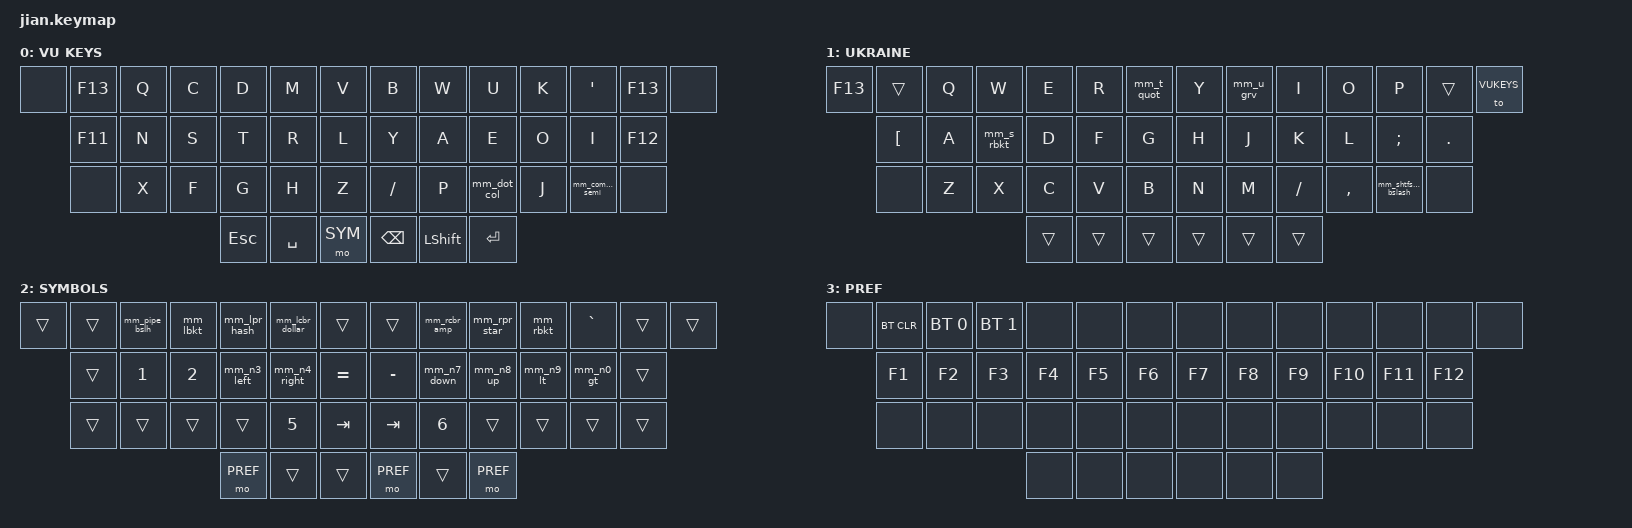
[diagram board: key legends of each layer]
#include <behaviors.dtsi>
#include <dt-bindings/zmk/keys.h>
#include <dt-bindings/zmk/bt.h>
#include <dt-bindings/zmk/outputs.h>

#define TIMEOUT 120

#define VUKEYS 0
#define UA     1
#define SYM    2
#define PREF   3

#define BTCLR &bt BT_CLR
#define BT0 &bt BT_SEL 0
#define BT1 &bt BT_SEL 1
#define BT2 &bt BT_SEL 2

// Custom debounce-period to mitigate unwanted duplicate keypresses
&kscan0 {
   debounce-press-ms = <12>;  //default 6ms
   debounce-release-ms = <12>;  //default 6ms
};

/ {
  behaviors {
    #include "modmorph.dtsi"
    #include "modtap.dtsi"
  };
  combos {
    #include "combos.dtsi"
  };
  macros {
    #include "macros.dtsi"
  };
  keymap {
       compatible = "zmk,keymap";
              VUKEYS {
              label = " VU KEYS";
              bindings = <
// ╭───────────┬───────────┬───────────┬───────────┬───────────┬───────────┬───────────╮  ╭───────────┬───────────┬───────────┬───────────┬───────────┬───────────┬───────────╮
      &none       &kp F13     &kp Q       &kp C       &kp D       &kp M       &kp V          &kp B       &kp W       &kp U       &kp K       &kp SQT     &kp F13     &none
// ╰───────────┼───────────┼───────────┼───────────┼───────────┼───────────┼───────────┤  ├───────────┼───────────┼───────────┼───────────┼───────────┼───────────┼───────────╯
                  &kp F11     &kp N       &kp S       &kp T       &kp R       &kp L          &kp Y       &kp A       &kp E       &kp O       &kp I       &kp F12
//             ├───────────┼───────────┼───────────┼───────────┼───────────┼───────────┤  ├───────────┼───────────┼───────────┼───────────┼───────────┼───────────┤
                  &none       &kp X       &kp F       &kp G       &kp H       &kp Z         &kp SLASH    &kp P     &mm_dot_col   &kp J     &mm_comma_semi &none
//             ╰───────────┴───────────┴───────────┼───────────┼───────────┼───────────┤  ├───────────┼───────────┼───────────┼───────────┴───────────┴───────────╯
                                                      &kp ESC     &kp SPC     &mo SYM        &kp BSPC    &kp LSHIFT  &kp RET
//                                                 ╰───────────┴───────────┴───────────╯  ╰───────────┴───────────┴───────────╯
                           >;
              };
              UA {
              label = " UKRAINE";
              bindings = <
// ╭───────────┬───────────┬───────────┬───────────┬───────────┬───────────┬───────────╮  ╭───────────┬───────────┬───────────┬───────────┬───────────┬───────────┬───────────╮
      &kp F13     &trans      &kp Q       &kp W       &kp E       &kp R       &mm_t_quot     &kp Y       &mm_u_grv   &kp I       &kp O       &kp P       &trans     &to VUKEYS
// ╰───────────┼───────────┼───────────┼───────────┼───────────┼───────────┼───────────┤  ├───────────┼───────────┼───────────┼───────────┼───────────┼───────────┼───────────╯
                  &kp LBKT    &kp A       &mm_s_rbkt  &kp D       &kp F       &kp G          &kp H       &kp J       &kp K       &kp L       &kp SEMI    &kp DOT
//             ├───────────┼───────────┼───────────┼───────────┼───────────┼───────────┤  ├───────────┼───────────┼───────────┼───────────┼───────────┼───────────┤
                  &none       &kp Z       &kp X       &kp C       &kp V       &kp B          &kp N       &kp M       &kp SLASH   &kp COMMA &mm_shtfslash_bslash &none
//             ╰───────────┴───────────┴───────────┼───────────┼───────────┼───────────┤  ├───────────┼───────────┼───────────┼───────────┴───────────┴───────────╯
                                                      &trans      &trans      &trans         &trans      &trans      &trans
//                                                 ╰───────────┴───────────┴───────────╯  ╰───────────┴───────────┴───────────╯
                           >;
              };
              SYM {
              label = " SYMBOLS";
              bindings = <
// ╭───────────┬───────────┬───────────┬───────────┬───────────┬───────────┬───────────╮  ╭───────────┬───────────┬───────────┬───────────┬───────────┬───────────┬───────────╮
      &trans      &trans    &mm_pipe_bslh &mm_lbkt  &mm_lpr_hash &mm_lcbr_dollar &trans      &trans    &mm_rcbr_amp &mm_rpr_star &mm_rbkt   &kp GRAVE    &trans      &trans
// ╰───────────┼───────────┼───────────┼───────────┼───────────┼───────────┼───────────┤  ├───────────┼───────────┼───────────┼───────────┼───────────┼───────────┼───────────╯
                  &trans      &kp N1      &kp N2    &mm_n3_left &mm_n4_right  &kp EQUAL      &kp MINUS &mm_n7_down  &mm_n8_up    &mm_n9_lt  &mm_n0_gt    &trans
//             ├───────────┼───────────┼───────────┼───────────┼───────────┼───────────┤  ├───────────┼───────────┼───────────┼───────────┼───────────┼───────────┤
                  &trans      &trans      &trans      &trans      &kp N5      &kp TAB        &kp TAB     &kp N6      &trans      &trans      &trans      &trans
//             ╰───────────┴───────────┴───────────┼───────────┼───────────┼───────────┤  ├───────────┼───────────┼───────────┼───────────┴───────────┴───────────╯
                                                      &mo PREF    &trans      &trans         &mo PREF    &trans      &mo PREF
//                                                 ╰───────────┴───────────┴───────────╯  ╰───────────┴───────────┴───────────╯
                           >;
              };
              PREF {
              label = " PREF";
              bindings = <
// ╭───────────┬───────────┬───────────┬───────────┬───────────┬───────────┬───────────╮  ╭───────────┬───────────┬───────────┬───────────┬───────────┬───────────┬───────────╮
      &none       BTCLR       BT0         BT1         &none       &none       &none          &none       &none       &none       &none       &none       &none       &none
// ╰───────────┼───────────┼───────────┼───────────┼───────────┼───────────┼───────────┤  ├───────────┼───────────┼───────────┼───────────┼───────────┼───────────┼───────────╯
                  &kp F1      &kp F2      &kp F3      &kp F4      &kp F5      &kp F6         &kp F7      &kp F8      &kp F9      &kp F10     &kp F11     &kp F12
//             ├───────────┼───────────┼───────────┼───────────┼───────────┼───────────┤  ├───────────┼───────────┼───────────┼───────────┼───────────┼───────────┤
                  &none       &none       &none       &none       &none       &none          &none       &none       &none       &none       &none       &none
//             ╰───────────┴───────────┴───────────┼───────────┼───────────┼───────────┤  ├───────────┼───────────┼───────────┼───────────┴───────────┴───────────╯
                                                      &none       &none       &none          &none       &none       &none
//                                                 ╰───────────┴───────────┴───────────╯  ╰───────────┴───────────┴───────────╯
                         >;
                };
        };
};
